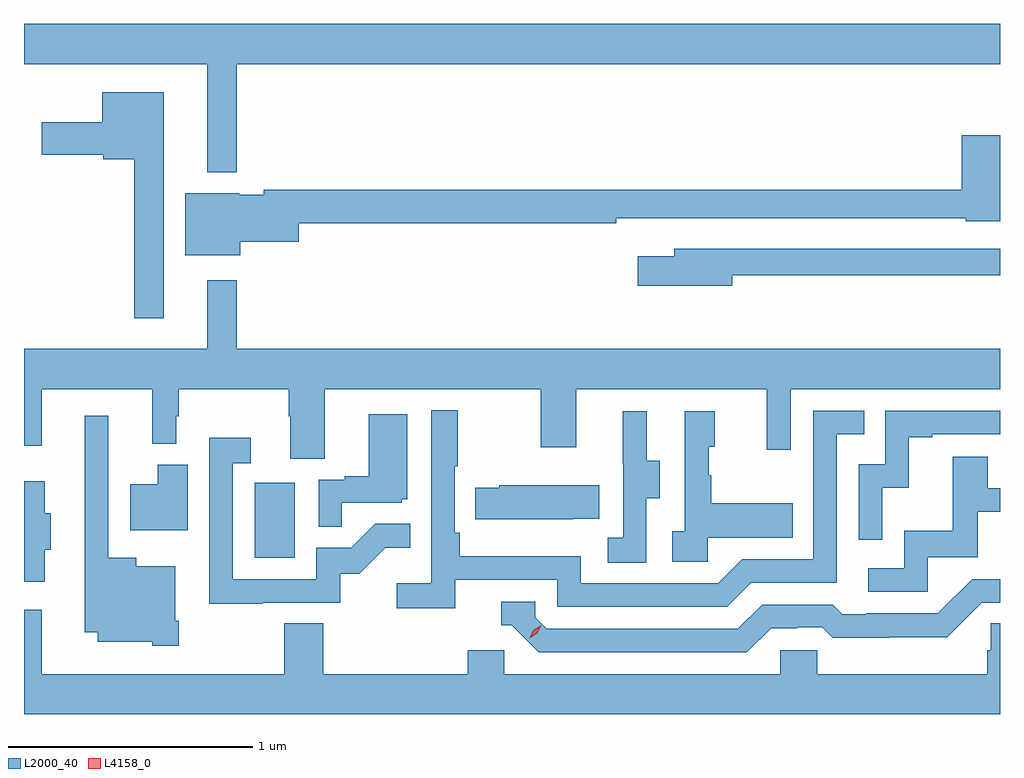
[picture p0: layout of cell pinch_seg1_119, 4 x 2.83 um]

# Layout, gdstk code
import gdstk
lib = gdstk.Library(unit=1e-6, precision=1e-09)
def R(c, l, rs):  # rectangles x0, y0, x1, y1
    for r in rs: c.add(gdstk.rectangle(r[:2], r[2:], *l))
def P(c, l, *ps):  # polygons
    for p in ps: c.add(gdstk.Polygon(p, *l))
L2000_40 = (2000, 40)
L4158_0 = (4158, 0)

pinch_seg1_119 = lib.new_cell('pinch_seg1_119')
R(pinch_seg1_119, L2000_40, [(1065.752,552.372,1065.916,552.679)])
P(pinch_seg1_119, L2000_40, [(1065.679,554.396),(1068.807,554.396),(1068.807,554.56),(1064.807,554.56),(1064.807,554.396),(1065.557,554.396),(1065.557,553.952),(1065.679,553.952)],
  [(1065.379,554.281),(1065.128,554.281),(1065.128,554.158),(1064.88,554.158),(1064.88,554.024),(1065.132,554.024),(1065.132,554.006),(1065.258,554.006),(1065.258,553.353),(1065.379,553.353)],
  [(1065.694,553.667),(1065.934,553.667),(1065.934,553.744),(1067.234,553.744),(1067.234,553.764),(1068.666,553.764),(1068.666,553.751),(1068.807,553.751),(1068.807,554.104),(1068.65,554.104),(1068.65,553.88),(1065.79,553.88),(1065.79,553.861),(1065.69,553.861),(1065.69,553.867),(1065.467,553.867),(1065.467,553.613),(1065.694,553.613)],
  [(1067.71,553.53),(1068.807,553.53),(1068.807,553.638),(1067.471,553.638),(1067.471,553.609),(1067.322,553.609),(1067.322,553.487),(1067.71,553.487)],
  [(1066.039,553.064),(1066.924,553.064),(1066.924,552.825),(1067.071,552.825),(1067.071,553.064),(1067.852,553.064),(1067.852,552.816),(1067.949,552.816),(1067.949,553.064),(1068.807,553.064),(1068.807,553.228),(1065.679,553.228),(1065.679,553.51),(1065.557,553.51),(1065.557,553.228),(1064.807,553.228),(1064.807,552.831),(1064.879,552.831),(1064.879,553.064),(1065.332,553.064),(1065.332,552.839),(1065.43,552.839),(1065.43,552.952),(1065.442,552.952),(1065.442,553.064),(1065.892,553.064),(1065.892,552.952),(1065.899,552.952),(1065.899,552.778),(1066.039,552.778)],
  [(1066.574,552.282),(1066.992,552.282),(1066.992,552.171),(1067.689,552.171),(1067.788,552.27),(1068.138,552.27),(1068.138,552.879),(1068.251,552.879),(1068.251,552.975),(1068.042,552.975),(1068.042,552.366),(1067.751,552.366),(1067.652,552.267),(1067.088,552.267),(1067.088,552.379),(1066.592,552.379),(1066.592,552.475),(1066.572,552.475),(1066.572,552.748),(1066.585,552.748),(1066.585,552.976),(1066.476,552.976),(1066.476,552.268),(1066.335,552.268),(1066.335,552.166),(1066.574,552.166)],
  [(1068.324,552.659),(1068.434,552.659),(1068.434,552.867),(1068.529,552.867),(1068.529,552.879),(1068.807,552.879),(1068.807,552.975),(1068.336,552.975),(1068.336,552.756),(1068.228,552.756),(1068.228,552.447),(1068.324,552.447)],
  [(1067.61,552.455),(1067.957,552.455),(1067.957,552.595),(1067.623,552.595),(1067.623,552.71),(1067.613,552.71),(1067.613,552.828),(1067.638,552.828),(1067.638,552.973),(1067.514,552.973),(1067.514,552.482),(1067.463,552.482),(1067.463,552.357),(1067.61,552.357)],
  [(1067.358,552.616),(1067.413,552.616),(1067.413,552.771),(1067.359,552.771),(1067.359,552.973),(1067.261,552.973),(1067.261,552.759),(1067.262,552.759),(1067.262,552.455),(1067.199,552.455),(1067.199,552.352),(1067.358,552.352)],
  [(1066.109,552.597),(1066.356,552.597),(1066.356,552.612),(1066.378,552.612),(1066.378,552.961),(1066.22,552.961),(1066.22,552.706),(1066.121,552.706),(1066.121,552.693),(1066.014,552.693),(1066.014,552.499),(1066.109,552.499)],
  [(1065.441,552.115),(1065.427,552.115),(1065.427,552.337),(1065.268,552.337),(1065.268,552.373),(1065.153,552.373),(1065.153,552.955),(1065.056,552.955),(1065.056,552.068),(1065.11,552.068),(1065.11,552.029),(1065.333,552.029),(1065.333,552.011),(1065.441,552.011)],
  [(1065.785,552.189),(1066.104,552.189),(1066.104,552.306),(1066.18,552.306),(1066.287,552.413),(1066.391,552.413),(1066.391,552.512),(1066.247,552.512),(1066.149,552.414),(1066.005,552.414),(1066.005,552.285),(1065.663,552.285),(1065.663,552.759),(1065.736,552.759),(1065.736,552.865),(1065.567,552.865),(1065.567,552.184),(1065.785,552.184)],
  [(1068.51,552.375),(1068.715,552.375),(1068.715,552.561),(1068.807,552.561),(1068.807,552.657),(1068.757,552.657),(1068.757,552.787),(1068.613,552.787),(1068.613,552.484),(1068.414,552.484),(1068.414,552.33),(1068.267,552.33),(1068.267,552.234),(1068.51,552.234)],
  [(1065.478,552.754),(1065.356,552.754),(1065.356,552.673),(1065.242,552.673),(1065.242,552.485),(1065.478,552.485)],
  [(1064.893,552.405),(1064.917,552.405),(1064.917,552.555),(1064.893,552.555),(1064.893,552.685),(1064.807,552.685),(1064.807,552.275),(1064.893,552.275)],
  [(1067.057,552.533),(1067.165,552.533),(1067.165,552.67),(1066.755,552.67),(1066.755,552.66),(1066.657,552.66),(1066.657,552.53),(1067.057,552.53)],
  [(1067.869,552.084),(1067.976,552.084),(1067.976,552.087),(1068.079,552.087),(1068.121,552.045),(1068.354,552.045),(1068.354,552.047),(1068.59,552.047),(1068.732,552.189),(1068.807,552.189),(1068.807,552.285),(1068.693,552.285),(1068.552,552.144),(1068.259,552.144),(1068.259,552.141),(1068.16,552.141),(1068.121,552.18),(1067.832,552.18),(1067.733,552.081),(1066.95,552.081),(1066.902,552.129),(1066.902,552.192),(1066.763,552.192),(1066.763,552.096),(1066.806,552.096),(1066.917,551.985),(1067.77,551.985)],
  [(1068.807,552.104),(1068.769,552.104),(1068.769,551.994),(1068.755,551.994),(1068.755,551.896),(1068.057,551.896),(1068.057,551.994),(1067.907,551.994),(1067.907,551.896),(1066.776,551.896),(1066.776,551.994),(1066.625,551.994),(1066.625,551.896),(1066.034,551.896),(1066.034,552.104),(1065.874,552.104),(1065.874,551.896),(1064.88,551.896),(1064.88,552.16),(1064.807,552.16),(1064.807,551.732),(1068.807,551.732)])
P(pinch_seg1_119, L4158_0, [(1066.879,552.043),(1066.879,552.043),(1066.895,552.076),(1066.926,552.095),(1066.926,552.095),(1066.926,552.095),(1066.91,552.062),(1066.879,552.043)])

lib.write_gds('pinch_seg1_119.gds')
